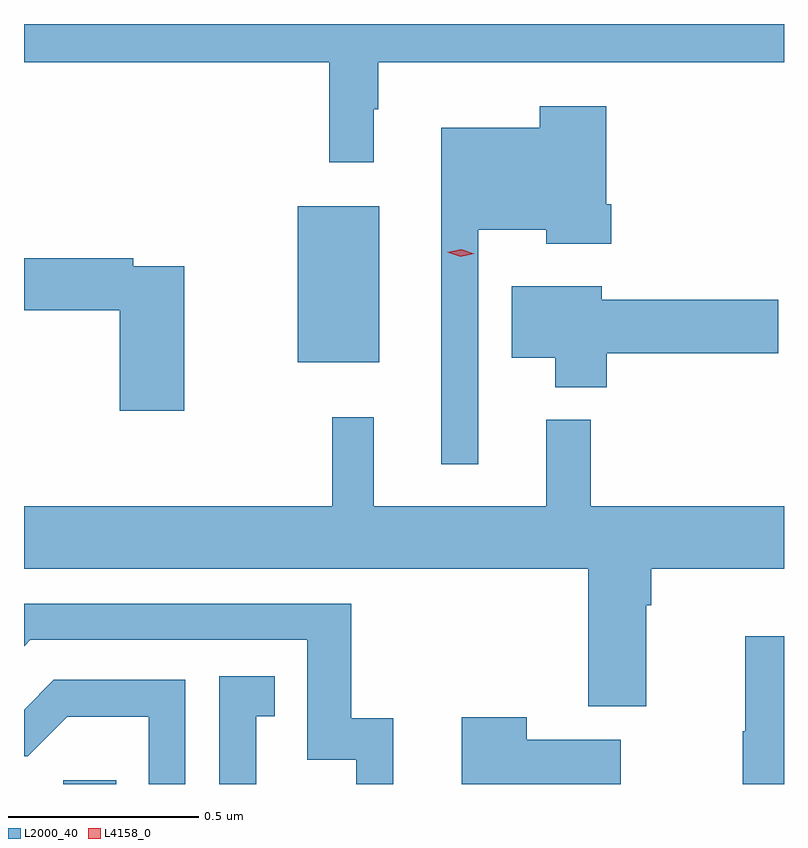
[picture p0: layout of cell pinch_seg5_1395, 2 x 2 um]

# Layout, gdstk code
import gdstk
lib = gdstk.Library(unit=1e-6, precision=1e-09)
def R(c, l, rs):  # rectangles x0, y0, x1, y1
    for r in rs: c.add(gdstk.rectangle(r[:2], r[2:], *l))
def P(c, l, *ps):  # polygons
    for p in ps: c.add(gdstk.Polygon(p, *l))
L2000_40 = (2000, 40)
L4158_0 = (4158, 0)

pinch_seg5_1395 = lib.new_cell('pinch_seg5_1395')
R(pinch_seg5_1395, L2000_40, [(293.499,901.481,293.639,901.491), (294.116,902.591,294.331,903.001)])
P(pinch_seg5_1395, L2000_40, [(294.316,903.257),(294.328,903.257),(294.328,903.38),(295.396,903.38),(295.396,903.481),(293.396,903.481),(293.396,903.38),(294.199,903.38),(294.199,903.117),(294.316,903.117)],
  [(294.591,902.939),(294.77,902.939),(294.77,902.903),(294.941,902.903),(294.941,903.007),(294.928,903.007),(294.928,903.265),(294.753,903.265),(294.753,903.208),(294.494,903.208),(294.494,902.322),(294.591,902.322)],
  [(293.818,902.844),(293.684,902.844),(293.684,902.864),(293.396,902.864),(293.396,902.728),(293.648,902.728),(293.648,902.463),(293.818,902.463)],
  [(294.929,902.614),(295.381,902.614),(295.381,902.756),(294.916,902.756),(294.916,902.791),(294.68,902.791),(294.68,902.603),(294.794,902.603),(294.794,902.525),(294.929,902.525)],
  [(295.033,901.952),(295.046,901.952),(295.046,902.048),(295.396,902.048),(295.396,902.212),(294.887,902.212),(294.887,902.44),(294.77,902.44),(294.77,902.212),(294.317,902.212),(294.317,902.446),(294.207,902.446),(294.207,902.212),(293.396,902.212),(293.396,902.048),(294.881,902.048),(294.881,901.686),(295.033,901.686)],
  [(294.368,901.654),(294.257,901.654),(294.257,901.956),(293.396,901.956),(293.396,901.844),(293.412,901.86),(294.141,901.86),(294.141,901.545),(294.27,901.545),(294.27,901.481),(294.368,901.481)],
  [(295.396,901.87),(295.294,901.87),(295.294,901.62),(295.287,901.62),(295.287,901.481),(295.396,901.481)],
  [(294.007,901.659),(294.056,901.659),(294.056,901.765),(293.91,901.765),(293.91,901.481),(294.007,901.481)],
  [(293.82,901.755),(293.474,901.755),(293.396,901.677),(293.396,901.554),(293.406,901.554),(293.51,901.658),(293.724,901.658),(293.724,901.481),(293.82,901.481)],
  [(294.967,901.597),(294.719,901.597),(294.719,901.657),(294.548,901.657),(294.548,901.481),(294.967,901.481)])
P(pinch_seg5_1395, L4158_0, [(294.545,902.869),(294.51,902.88),(294.51,902.88),(294.51,902.88),(294.546,902.888),(294.581,902.877),(294.581,902.877),(294.581,902.877)])

lib.write_gds('pinch_seg5_1395.gds')
